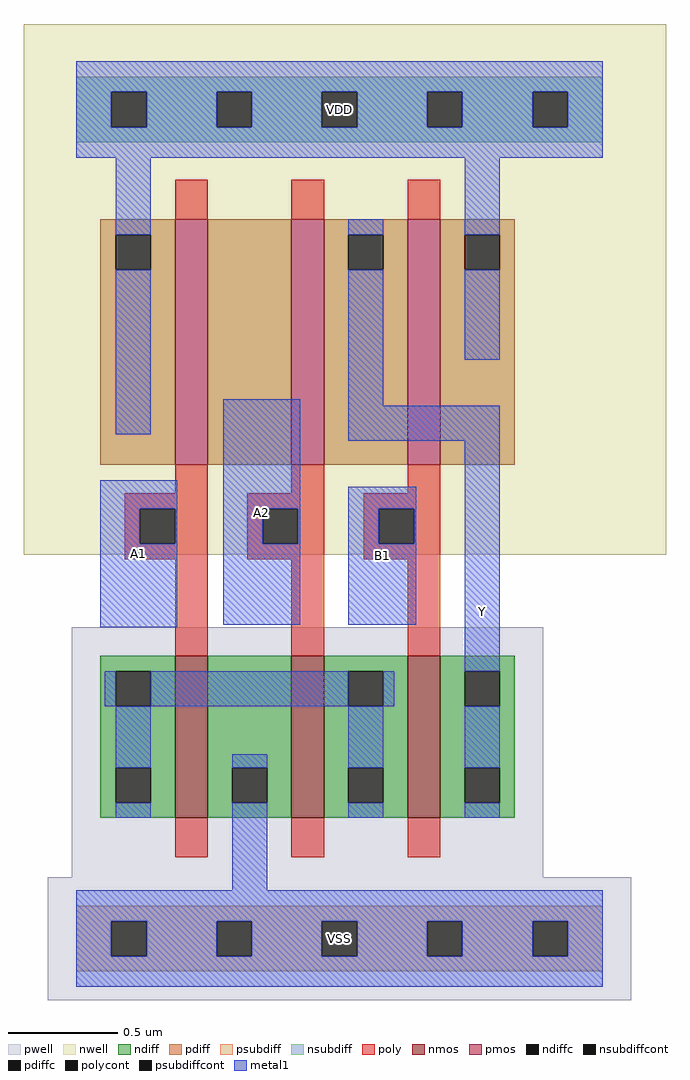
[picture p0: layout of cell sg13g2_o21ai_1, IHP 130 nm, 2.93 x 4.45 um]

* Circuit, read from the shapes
.subckt sg13g2_o21ai_1 VSS VDD Y B1 A2 A1
XM1 VSS A1 n1 VSS sg13_lv_nmos w=0.74u l=0.15u
XM2 n1 A2 VSS VSS sg13_lv_nmos w=0.74u l=0.15u
XM3 Y B1 n1 VSS sg13_lv_nmos w=0.74u l=0.15u
XM4 n2 A1 VDD VDD sg13_lv_pmos w=1.12u l=0.15u
XM5 Y A2 n2 VDD sg13_lv_pmos w=1.12u l=0.15u
XM6 VDD B1 Y VDD sg13_lv_pmos w=1.12u l=0.15u
.ends

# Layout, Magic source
magic
tech ihp-sg13g2
<< nwell >>
rect -24 175 269 417
<< pwell >>
rect -2 28 213 142
rect -13 -28 253 28
<< nmos >>
rect 45 55 60 129
rect 98 55 113 129
rect 151 55 166 129
<< pmos >>
rect 45 216 60 328
rect 98 216 113 328
rect 151 216 166 328
<< ndiff >>
rect 11 122 45 129
rect 11 106 18 122
rect 34 106 45 122
rect 11 78 45 106
rect 11 62 18 78
rect 34 62 45 78
rect 11 55 45 62
rect 60 78 98 129
rect 60 62 71 78
rect 87 62 98 78
rect 60 55 98 62
rect 113 122 151 129
rect 113 106 124 122
rect 140 106 151 122
rect 113 78 151 106
rect 113 62 124 78
rect 140 62 151 78
rect 113 55 151 62
rect 166 122 200 129
rect 166 106 177 122
rect 193 106 200 122
rect 166 78 200 106
rect 166 62 177 78
rect 193 62 200 78
rect 166 55 200 62
<< pdiff >>
rect 11 321 45 328
rect 11 305 18 321
rect 34 305 45 321
rect 11 216 45 305
rect 60 216 98 328
rect 113 321 151 328
rect 113 305 124 321
rect 140 305 151 321
rect 113 216 151 305
rect 166 321 200 328
rect 166 305 177 321
rect 193 305 200 321
rect 166 216 200 305
<< ndiffc >>
rect 18 106 34 122
rect 18 62 34 78
rect 71 62 87 78
rect 124 106 140 122
rect 124 62 140 78
rect 177 106 193 122
rect 177 62 193 78
<< pdiffc >>
rect 18 305 34 321
rect 124 305 140 321
rect 177 305 193 321
<< psubdiff >>
rect 0 8 240 15
rect 0 -8 16 8
rect 32 -8 64 8
rect 80 -8 112 8
rect 128 -8 160 8
rect 176 -8 208 8
rect 224 -8 240 8
rect 0 -15 240 -8
<< nsubdiff >>
rect 0 386 240 393
rect 0 370 16 386
rect 32 370 64 386
rect 80 370 112 386
rect 128 370 160 386
rect 176 370 208 386
rect 224 370 240 386
rect 0 363 240 370
<< psubdiffcont >>
rect 16 -8 32 8
rect 64 -8 80 8
rect 112 -8 128 8
rect 160 -8 176 8
rect 208 -8 224 8
<< nsubdiffcont >>
rect 16 370 32 386
rect 64 370 80 386
rect 112 370 128 386
rect 160 370 176 386
rect 208 370 224 386
<< poly >>
rect 45 328 60 346
rect 98 328 113 346
rect 151 328 166 346
rect 45 203 60 216
rect 98 203 113 216
rect 151 203 166 216
rect 22 196 60 203
rect 22 180 29 196
rect 45 180 60 196
rect 22 173 60 180
rect 78 196 113 203
rect 78 180 85 196
rect 101 180 113 196
rect 78 173 113 180
rect 131 196 166 203
rect 131 180 138 196
rect 154 180 166 196
rect 131 173 166 180
rect 45 129 60 173
rect 98 129 113 173
rect 151 129 166 173
rect 45 37 60 55
rect 98 37 113 55
rect 151 37 166 55
<< polycont >>
rect 29 180 45 196
rect 85 180 101 196
rect 138 180 154 196
<< metal1 >>
rect 0 386 240 400
rect 0 370 16 386
rect 32 370 64 386
rect 80 370 112 386
rect 128 370 160 386
rect 176 370 208 386
rect 224 370 240 386
rect 0 356 240 370
rect 18 321 34 356
rect 18 230 34 305
rect 124 321 140 328
rect 11 196 46 209
rect 11 180 29 196
rect 45 180 46 196
rect 11 142 46 180
rect 67 196 102 246
rect 124 243 140 305
rect 177 321 193 356
rect 177 264 193 305
rect 124 227 193 243
rect 67 180 85 196
rect 101 180 102 196
rect 67 143 102 180
rect 124 196 155 206
rect 124 180 138 196
rect 154 180 155 196
rect 124 143 155 180
rect 177 122 193 227
rect 13 106 18 122
rect 34 106 124 122
rect 140 106 145 122
rect 18 78 34 106
rect 18 55 34 62
rect 71 78 87 84
rect 71 22 87 62
rect 124 78 140 106
rect 124 55 140 62
rect 177 78 193 106
rect 177 55 193 62
rect 0 8 240 22
rect 0 -8 16 8
rect 32 -8 64 8
rect 80 -8 112 8
rect 128 -8 160 8
rect 176 -8 208 8
rect 224 -8 240 8
rect 0 -22 240 -8
<< labels >>
flabel metal1 s 0 -22 240 22 0 FreeSans 150 0 0 0 VSS
port 2 nsew
flabel metal1 s 0 356 240 400 0 FreeSans 150 0 0 0 VDD
port 3 nsew
flabel metal1 s 177 55 193 243 0 FreeSans 400 0 0 0 Y
port 4 nsew
flabel metal1 s 124 143 155 206 0 FreeSans 150 0 0 0 B1
port 5 nsew
flabel metal1 s 67 143 102 246 0 FreeSans 150 0 0 0 A2
port 6 nsew
flabel metal1 s 11 142 46 209 0 FreeSans 150 0 0 0 A1
port 7 nsew
<< properties >>
string FIXED_BBOX 0 0 240 378
string GDS_END 50816
string GDS_FILE ../gds/controller.gds
string GDS_START 46572
<< end >>
